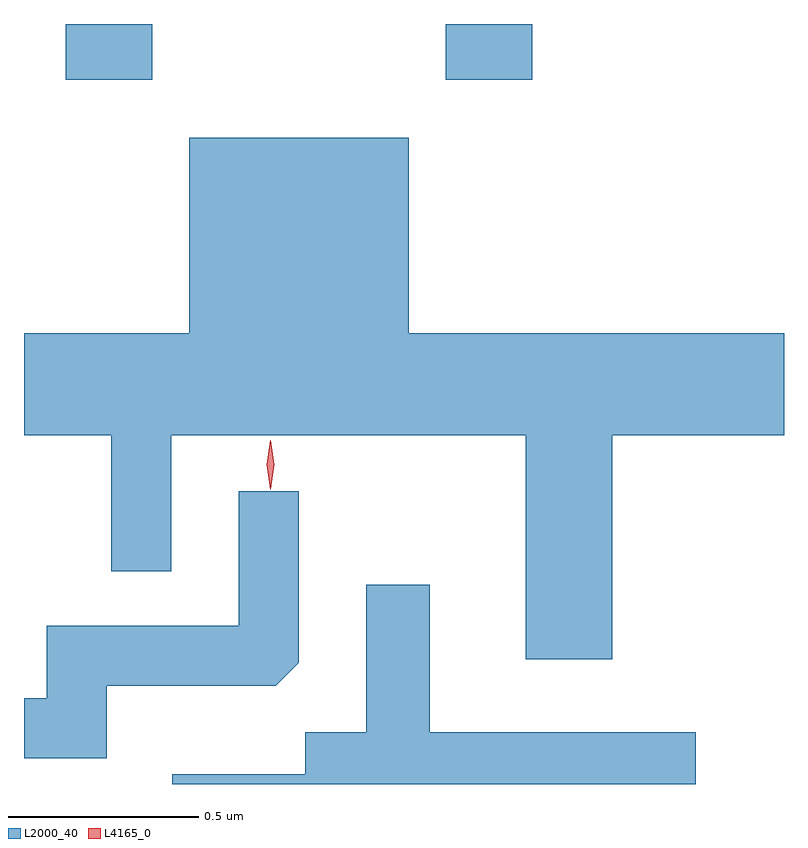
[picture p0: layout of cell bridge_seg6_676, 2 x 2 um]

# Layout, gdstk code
import gdstk
lib = gdstk.Library(unit=1e-6, precision=1e-09)
def R(c, l, rs):  # rectangles x0, y0, x1, y1
    for r in rs: c.add(gdstk.rectangle(r[:2], r[2:], *l))
def P(c, l, *ps):  # polygons
    for p in ps: c.add(gdstk.Polygon(p, *l))
L2000_40 = (2000, 40)
L4165_0 = (4165, 0)

bridge_seg6_676 = lib.new_cell('bridge_seg6_676')
R(bridge_seg6_676, L2000_40, [(400.711,1615.351,400.939,1615.498), (401.711,1615.351,401.939,1615.498)])
P(bridge_seg6_676, L2000_40, [(402.149,1614.416),(402.601,1614.416),(402.601,1614.684),(401.614,1614.684),(401.614,1615.199),(401.036,1615.199),(401.036,1614.684),(400.601,1614.684),(400.601,1614.416),(400.831,1614.416),(400.831,1614.058),(400.989,1614.058),(400.989,1614.416),(401.921,1614.416),(401.921,1613.826),(402.149,1613.826)],
  [(400.819,1613.756),(401.264,1613.756),(401.324,1613.817),(401.324,1614.268),(401.166,1614.268),(401.166,1613.914),(400.661,1613.914),(400.661,1613.724),(400.601,1613.724),(400.601,1613.566),(400.819,1613.566)],
  [(402.369,1613.634),(401.669,1613.634),(401.669,1614.023),(401.501,1614.023),(401.501,1613.634),(401.341,1613.634),(401.341,1613.524),(400.991,1613.524),(400.991,1613.498),(402.369,1613.498)])
P(bridge_seg6_676, L4165_0, [(401.249,1614.273),(401.249,1614.274),(401.24,1614.338),(401.249,1614.402),(401.249,1614.403),(401.25,1614.402),(401.259,1614.338),(401.25,1614.274)])

lib.write_gds('bridge_seg6_676.gds')
